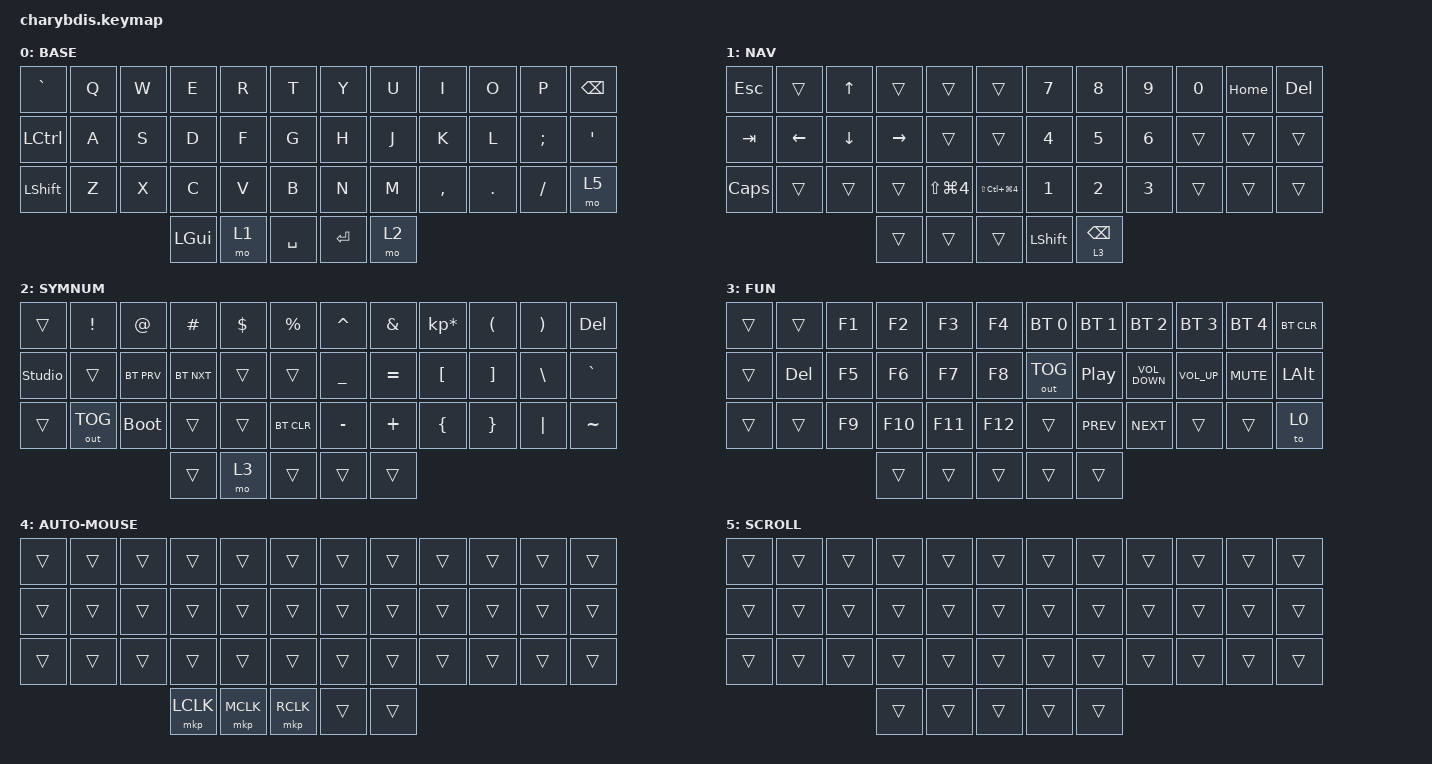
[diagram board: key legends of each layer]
#include <dt-bindings/zmk/mouse.h>
#include <input/processors.dtsi>
#include <dt-bindings/zmk/input_transform.h>
#include <behaviors.dtsi>
#include <dt-bindings/zmk/bt.h>
#include <dt-bindings/zmk/keys.h>
#include <dt-bindings/zmk/outputs.h>
#include <dt-bindings/zmk/pointing.h>

#define U_TAPPING_TERM 200

/ {
    trackball_listener {
        compatible = "zmk,input-listener";
        device = <&trackball>;
        input-processors = <&zip_xy_scaler 1 2>, <&zip_temp_layer 4 400>;

        // Switch to auto-mouse temp layer, decrease sensitivity

        scroll {
            layers = <5>; // SCROLL
            input-processors =
                <&zip_xy_scaler 1 10>,
                <&zip_xy_to_scroll_mapper>,
                <&zip_scroll_transform (INPUT_TRANSFORM_Y_INVERT)>;
        };
    };

    combos {
        compatible = "zmk,combos";

        LeftClickRight {
            bindings = <&mkp LCLK>;
            key-positions = <19 20>;
        };

        RightClickRight {
            bindings = <&mkp RCLK>;
            key-positions = <20 21>;
        };

        MiddleClickRight {
            bindings = <&mkp MCLK>;
            key-positions = <21 22>;
        };

        ParaLeft {
            bindings = <&kp LEFT_PARENTHESIS>;
            key-positions = <4 16>;
        };

        ParaRight {
            bindings = <&kp RIGHT_PARENTHESIS>;
            key-positions = <7 19>;
        };

        BrakLeft {
            bindings = <&kp LEFT_BRACKET>;
            key-positions = <3 15>;
        };

        BrakRight {
            bindings = <&kp RIGHT_BRACKET>;
            key-positions = <8 20>;
        };

        BraceLeft {
            bindings = <&kp LEFT_BRACE>;
            key-positions = <2 14>;
        };

        BraceRight {
            bindings = <&kp RIGHT_BRACE>;
            key-positions = <9 21>;
        };

        Delete {
            bindings = <&kp DELETE>;
            key-positions = <8 9>;
        };

        CapsWord {
            bindings = <&caps_word>;
            key-positions = <17 18>;
        };
    };

    behaviors {
        u_mt: u_mt {
            compatible = "zmk,behavior-hold-tap";
            label = "u_mt";
            #binding-cells = <2>;
            tapping_term_ms = <U_TAPPING_TERM>;
            flavor = "tap-preferred";
            bindings = <&kp>, <&kp>;
        };

        u_lt: u_lt {
            compatible = "zmk,behavior-hold-tap";
            label = "u_lt";
            #binding-cells = <2>;
            tapping_term_ms = <U_TAPPING_TERM>;
            flavor = "tap-preferred";
            bindings = <&mo>, <&kp>;
        };

        Shift_Enter: Shift_Enter {
            compatible = "zmk,behavior-hold-tap";
            label = "SHIFT_ENTER";
            bindings = <&kp>, <&kp>;

            #binding-cells = <2>;
            hold-trigger-key-positions = <40>;
            tapping-term-ms = <100>;
        };
    };

    keymap {
        compatible = "zmk,keymap";

        BASE {
            bindings = <
&kp GRAVE  &kp Q  &kp W  &kp E     &kp R  &kp T        &kp Y      &kp U  &kp I      &kp O    &kp P     &kp BSPC
&kp LCTRL  &kp A  &kp S  &kp D     &kp F  &kp G        &kp H      &kp J  &kp K      &kp L    &kp SEMI  &kp APOS
&kp LSHFT  &kp Z  &kp X  &kp C     &kp V  &kp B        &kp N      &kp M  &kp COMMA  &kp DOT  &kp FSLH  &mo 5
                         &kp LGUI  &mo 1  &kp SPACE    &kp ENTER  &mo 2
            >;
        };

        NAV {
            bindings = <
&kp ESCAPE  &trans    &kp UP    &trans     &trans                &trans                      &kp N7          &kp N8           &kp N9  &kp N0  &kp HOME  &kp DEL
&kp TAB     &kp LEFT  &kp DOWN  &kp RIGHT  &trans                &trans                      &kp N4          &kp N5           &kp N6  &trans  &trans    &trans
&kp CAPS    &trans    &trans    &trans     &kp LS(LG(NUMBER_4))  &kp LS(LC(LG(NUMBER_4)))    &kp N1          &kp N2           &kp N3  &trans  &trans    &trans
                                &trans     &trans                &trans                      &kp LEFT_SHIFT  &lt 3 BACKSPACE
            >;
        };

        SYMNUM {
            bindings = <
&trans          &kp EXCL      &kp AT       &kp HASH    &kp DLLR  &kp PRCNT     &kp CARET  &kp AMPS   &kp KP_MULTIPLY  &kp LPAR  &kp RPAR  &kp DEL
&studio_unlock  &trans        &bt BT_PRV   &bt BT_NXT  &trans    &trans        &kp UNDER  &kp EQUAL  &kp LBKT         &kp RBKT  &kp BSLH  &kp GRAVE
&trans          &out OUT_TOG  &bootloader  &trans      &trans    &bt BT_CLR    &kp MINUS  &kp PLUS   &kp LBRC         &kp RBRC  &kp PIPE  &kp TILDE
                                           &trans      &mo 3     &trans        &trans     &trans
            >;
        };

        FUN {
            bindings = <
&trans  &trans   &kp F1  &kp F2   &kp F3   &kp F4     &bt BT_SEL 0  &bt BT_SEL 1      &bt BT_SEL 2       &bt BT_SEL 3     &bt BT_SEL 4  &bt BT_CLR
&trans  &kp DEL  &kp F5  &kp F6   &kp F7   &kp F8     &out OUT_TOG  &kp C_PLAY_PAUSE  &kp C_VOLUME_DOWN  &kp C_VOLUME_UP  &kp C_MUTE    &kp LALT
&trans  &trans   &kp F9  &kp F10  &kp F11  &kp F12    &trans        &kp C_PREV        &kp C_NEXT         &trans           &trans        &to 0
                         &trans   &trans   &trans     &trans        &trans
            >;
        };

        AUTO-MOUSE {
            bindings = <
&trans  &trans  &trans  &trans     &trans     &trans       &trans  &trans  &trans  &trans  &trans  &trans
&trans  &trans  &trans  &trans     &trans     &trans       &trans  &trans  &trans  &trans  &trans  &trans
&trans  &trans  &trans  &trans     &trans     &trans       &trans  &trans  &trans  &trans  &trans  &trans
                        &mkp LCLK  &mkp MCLK  &mkp RCLK    &trans  &trans
            >;
        };

        SCROLL {
            bindings = <
&trans  &trans  &trans  &trans  &trans  &trans    &trans  &trans  &trans  &trans  &trans  &trans
&trans  &trans  &trans  &trans  &trans  &trans    &trans  &trans  &trans  &trans  &trans  &trans
&trans  &trans  &trans  &trans  &trans  &trans    &trans  &trans  &trans  &trans  &trans  &trans
                        &trans  &trans  &trans    &trans  &trans
            >;
        };
    };
};
